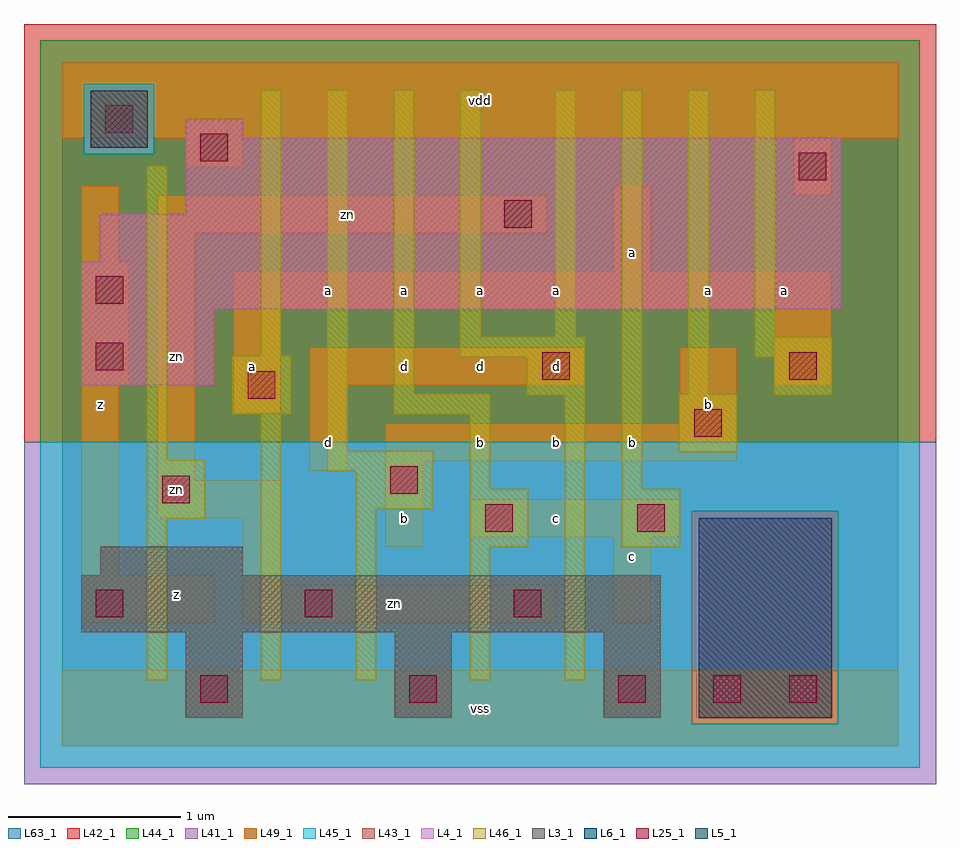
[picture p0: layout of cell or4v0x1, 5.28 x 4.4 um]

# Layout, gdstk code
import gdstk
lib = gdstk.Library(unit=1e-6, precision=1e-09)
def R(c, l, rs):  # rectangles x0, y0, x1, y1
    for r in rs: c.add(gdstk.rectangle(r[:2], r[2:], *l))
def A(c, l, x, y, w, h, nx, ny, dx, dy):  # array of equal rectangles
    R(c, l, [(x+i*dx, y+j*dy, x+i*dx+w, y+j*dy+h) for i in range(nx) for j in range(ny)])
L3_1 = (3, 1)
L4_1 = (4, 1)
L5_1 = (5, 1)
L6_1 = (6, 1)
L25_1 = (25, 1)
L41_1 = (41, 1)
L42_1 = (42, 1)
L43_1 = (43, 1)
L44_1 = (44, 1)
L45_1 = (45, 1)
L46_1 = (46, 1)
L49_1 = (49, 1)
L63_1 = (63, 1)

or4v0x1 = lib.new_cell('or4v0x1')
A(or4v0x1, L3_1, 0.715, 0.165, 0.33, 0.495, 3, 1, 1.21, 0)
R(or4v0x1, L3_1, [(0.11,0.66,3.465,0.99), (0.22,0.99,1.045,1.155)])
R(or4v0x1, L4_1, [(0.11,2.09,0.88,2.53), (0.11,2.53,4.51,2.805), (0.22,2.805,4.51,3.08), (0.715,3.08,4.51,3.52), (0.715,3.52,1.045,3.63)])
R(or4v0x1, L5_1, [(0.165,3.465,0.495,3.795)])
R(or4v0x1, L6_1, [(3.685,0.165,4.455,1.32)])
A(or4v0x1, L25_1, 0.8, 0.25, 0.16, 0.16, 3, 1, 1.21, 0)
A(or4v0x1, L25_1, 0.195, 0.745, 0.16, 0.16, 3, 1, 1.21, 0)
R(or4v0x1, L25_1, [(3.77,0.25,3.93,0.41), (4.21,0.25,4.37,0.41), (2.45,1.24,2.61,1.4), (3.33,1.24,3.49,1.4), (0.58,1.405,0.74,1.565), (1.9,1.46,2.06,1.62), (3.66,1.79,3.82,1.95), (1.075,2.01,1.235,2.17), (2.78,2.12,2.94,2.28), (4.21,2.12,4.37,2.28), (0.195,2.175,0.355,2.335), (0.195,2.56,0.355,2.72), (2.56,3,2.72,3.16), (4.265,3.275,4.425,3.435), (0.8,3.385,0.96,3.545), (0.25,3.55,0.41,3.71)])
R(or4v0x1, L41_1, [(-0.22,-0.22,5.06,1.76)])
R(or4v0x1, L42_1, [(-0.22,1.76,5.06,4.18)])
A(or4v0x1, L43_1, 0.715, 0.165, 0.33, 0.495, 3, 1, 1.21, 0)
R(or4v0x1, L43_1, [(3.685,0.165,4.455,1.32), (0.11,0.66,3.465,0.99), (0.22,0.99,1.045,1.155), (0.11,2.09,0.88,2.53), (0.11,2.53,4.51,2.805), (0.22,2.805,4.51,3.08), (0.715,3.08,4.51,3.52), (0.165,3.465,0.495,3.795), (0.715,3.52,1.045,3.63)])
R(or4v0x1, L44_1, [(3.645,0.125,4.495,1.36), (-0.125,1.76,4.965,3.425), (-0.125,3.425,0.125,3.835), (0.535,3.425,4.965,3.835), (-0.125,3.835,4.965,4.085)])
R(or4v0x1, L45_1, [(-0.125,-0.125,4.965,0.125), (-0.125,0.125,3.645,1.36), (4.495,0.125,4.965,1.36), (-0.125,1.36,4.965,1.76), (0.125,3.425,0.535,3.835)])
R(or4v0x1, L46_1, [(0.49,0.38,0.61,1.315), (1.15,0.38,1.27,1.92), (1.7,0.38,1.82,1.37), (2.36,0.38,2.48,1.15), (2.91,0.38,3.03,2.03), (2.36,1.15,2.7,1.49), (3.24,1.15,3.58,1.49), (0.49,1.315,0.83,1.655), (1.7,1.37,2.15,1.59), (2.36,1.49,2.48,1.92), (3.24,1.49,3.36,3.8), (1.535,1.59,2.15,1.71), (0.49,1.655,0.61,3.36), (3.57,1.7,3.91,2.04), (1.535,1.71,1.655,3.8), (0.985,1.92,1.325,2.26), (1.92,1.92,2.48,2.04), (2.69,2.03,3.03,2.25), (4.12,2.03,4.46,2.25), (1.92,2.04,2.04,3.8), (3.625,2.04,3.745,3.8), (2.305,2.25,3.03,2.37), (4.01,2.25,4.46,2.37), (1.15,2.26,1.27,3.8), (2.305,2.37,2.425,3.8), (2.855,2.37,2.975,3.8), (4.01,2.37,4.13,3.8)])
R(or4v0x1, L49_1, [(0,0,4.84,0.44), (0.11,0.715,0.88,0.99), (1.045,0.715,2.86,0.935), (3.19,0.715,3.41,1.21), (1.045,0.935,1.265,1.32), (0.11,0.99,0.33,2.09), (1.87,1.155,2.09,1.65), (2.365,1.21,3.575,1.43), (0.55,1.32,1.265,1.54), (0.55,1.54,0.77,2.97), (1.43,1.595,1.65,2.09), (1.87,1.65,3.905,1.87), (3.575,1.87,3.905,2.31), (0.99,1.925,1.265,2.53), (0.11,2.09,0.385,2.805), (1.43,2.09,3.025,2.31), (4.125,2.09,4.455,2.53), (0.99,2.53,4.455,2.75), (3.19,2.75,3.41,3.245), (0.11,2.805,0.33,3.245), (0.55,2.97,2.805,3.19), (4.235,3.19,4.455,3.52), (0.715,3.355,1.045,3.52), (0,3.52,4.84,3.96)])
R(or4v0x1, L63_1, [(0,0,4.84,3.96)])
or4v0x1.add(gdstk.Label('zn', (0.66,1.485), layer=49, texttype=1))
or4v0x1.add(gdstk.Label('z', (0.66,0.88), layer=49, texttype=1))
or4v0x1.add(gdstk.Label('z', (0.22,1.98), layer=49, texttype=1))
or4v0x1.add(gdstk.Label('zn', (0.66,2.255), layer=49, texttype=1))
or4v0x1.add(gdstk.Label('d', (1.54,1.76), layer=49, texttype=1))
or4v0x1.add(gdstk.Label('a', (1.1,2.2), layer=49, texttype=1))
or4v0x1.add(gdstk.Label('a', (1.54,2.64), layer=49, texttype=1))
or4v0x1.add(gdstk.Label('vss', (2.42,0.22), layer=49, texttype=1))
or4v0x1.add(gdstk.Label('zn', (1.925,0.825), layer=49, texttype=1))
or4v0x1.add(gdstk.Label('b', (1.98,1.32), layer=49, texttype=1))
or4v0x1.add(gdstk.Label('b', (2.42,1.76), layer=49, texttype=1))
or4v0x1.add(gdstk.Label('d', (1.98,2.2), layer=49, texttype=1))
or4v0x1.add(gdstk.Label('d', (2.42,2.2), layer=49, texttype=1))
or4v0x1.add(gdstk.Label('a', (1.98,2.64), layer=49, texttype=1))
or4v0x1.add(gdstk.Label('a', (2.42,2.64), layer=49, texttype=1))
or4v0x1.add(gdstk.Label('zn', (1.65,3.08), layer=49, texttype=1))
or4v0x1.add(gdstk.Label('vdd', (2.42,3.74), layer=49, texttype=1))
or4v0x1.add(gdstk.Label('c', (2.86,1.32), layer=49, texttype=1))
or4v0x1.add(gdstk.Label('c', (3.3,1.1), layer=49, texttype=1))
or4v0x1.add(gdstk.Label('b', (3.3,1.76), layer=49, texttype=1))
or4v0x1.add(gdstk.Label('b', (2.86,1.76), layer=49, texttype=1))
or4v0x1.add(gdstk.Label('d', (2.86,2.2), layer=49, texttype=1))
or4v0x1.add(gdstk.Label('b', (3.74,1.98), layer=49, texttype=1))
or4v0x1.add(gdstk.Label('a', (2.86,2.64), layer=49, texttype=1))
or4v0x1.add(gdstk.Label('a', (3.3,2.86), layer=49, texttype=1))
or4v0x1.add(gdstk.Label('a', (3.74,2.64), layer=49, texttype=1))
or4v0x1.add(gdstk.Label('a', (4.18,2.64), layer=49, texttype=1))

lib.write_gds('or4v0x1.gds')
